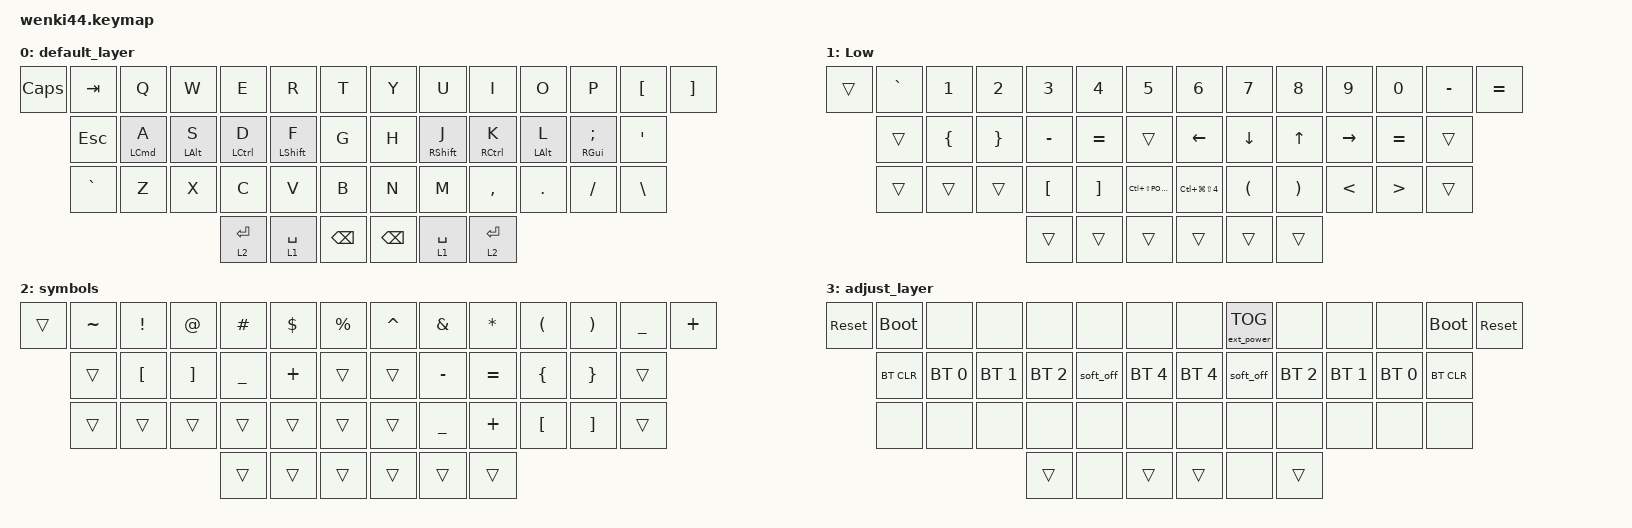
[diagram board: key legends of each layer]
/*
 * Copyright (c) 2020 The ZMK Contributors
 *
 * SPDX-License-Identifier: MIT
 */

#include <behaviors.dtsi>
#include <dt-bindings/zmk/bt.h>
#include <dt-bindings/zmk/ext_power.h>
#include <dt-bindings/zmk/keys.h>

#define DEF 0
#define LWR 1
#define RSE 2
#define ADJ 3

&mt {
    quick-tap-ms = <180>;
    flavor = "balanced";
};

&lt {
    quick_tap_ms = <200>;
    tapping-term-ms = <180>;
};

/ {
    combos {
        compatible = "zmk,combos";

        adj_l {
            bindings = <&lt 3 ESCAPE>;
            key-positions = <40 39>;
        };

        adj_r {
            bindings = <&lt 3 ESCAPE>;
            key-positions = <41 42>;
        };

        notQuitFix {
            bindings = <&none>;
            key-positions = <15 2>;
        };
    };

    keymap {
        compatible = "zmk,keymap";

        default_layer {
            // -----------------------------------------------------------------------------------------
            // |  GUI |   ~  |  Q  |  W  |  E  |  R  |  T  |   |  Y  |  U   |  I  |  O  |  P  |  [   | GUI/] |
            //        | CTRL |  A  |  S  |  D  |  F  |  G  |   |  H  |  J   |  K  |  L  |  ;  |CTRL/'|
            //        | LALT |  Z  |  X  |  C  |  V  |  B  |   |  N  |  M   |  ,  |  .  |  /  | RALT |
            //                           | RSE | SPC | LWR |   | LWR | BKSP | RSE |

            bindings = <
&kp CAPS  &kp TAB     &kp Q               &kp W           &kp E        &kp R        &kp T            &kp Y          &kp U        &kp I        &kp O           &kp P               &kp LBKT  &kp RIGHT_BRACKET
          &kp ESCAPE  &mt LEFT_COMMAND A  &mt LEFT_ALT S  &mt LCTRL D  &mt LSHFT F  &kp G            &kp H          &mt RSHFT J  &mt RCTRL K  &mt LEFT_ALT L  &mt RGUI SEMICOLON  &kp SQT
          &kp GRAVE   &kp Z               &kp X           &kp C        &kp V        &kp B            &kp N          &kp M        &kp COMMA    &kp DOT         &kp FSLH            &kp BSLH
                                                          &lt 2 ENTER  &lt 1 SPACE  &kp BACKSPACE    &kp BACKSPACE  &lt 1 SPACE  &lt 2 ENTER
            >;
        };

        Low {
            bindings = <
&trans  &kp GRAVE  &kp N1          &kp N2    &kp N3     &kp N4     &kp N5                 &kp N6                    &kp N7          &kp N8        &kp N9           &kp N0     &kp MINUS  &kp EQUAL
        &trans     &kp LEFT_BRACE  &kp RBRC  &kp MINUS  &kp EQUAL  &trans                 &kp LEFT                  &kp DOWN_ARROW  &kp UP_ARROW  &kp RIGHT_ARROW  &kp EQUAL  &trans
        &trans     &trans          &trans    &kp LBKT   &kp RBKT   &kp LC(LS(K_POWER))    &kp LC(LG(LS(NUMBER_4)))  &kp LPAR        &kp RPAR      &kp LT           &kp GT     &trans
                                             &trans     &trans     &trans                 &trans                    &trans          &trans
            >;
        };

        symbols {
            bindings = <
&trans  &kp TILDE  &kp EXCL  &kp AT    &kp HASH   &kp DOLLAR  &kp PERCENT    &kp CARET  &kp AMPS        &kp STAR   &kp LEFT_PARENTHESIS  &kp RIGHT_PARENTHESIS  &kp UNDER  &kp PLUS
        &trans     &kp LBKT  &kp RBKT  &kp UNDER  &kp PLUS    &trans         &trans     &kp MINUS       &kp EQUAL  &kp LEFT_BRACE        &kp RIGHT_BRACE        &trans
        &trans     &trans    &trans    &trans     &trans      &trans         &trans     &kp UNDERSCORE  &kp PLUS   &kp LEFT_BRACKET      &kp RIGHT_BRACKET      &trans
                                       &trans     &trans      &trans         &trans     &trans          &trans
            >;
        };

        adjust_layer {
            // -----------------------------------------------------------------------------------------
            // | RST | BLDR |     |     |     |     |     |   |     |     |     |     |     | BLDR | RST |
            //       | BTCLR| BT0 | BT1 | BT2 | BT3 | BT4 |   | BT4 | BT3 | BT2 | BT1 | BT0 | BTCLR|
            //       |      |     |     |     |     |     |   |     |     |     |     |     |      |
            //                          |     |     |     |   |     |     |     |

            bindings = <
&sys_reset  &bootloader  &none         &none         &none         &none      &none           &none         &ext_power EP_TOG  &none         &none         &none         &bootloader  &sys_reset
            &bt BT_CLR   &bt BT_SEL 0  &bt BT_SEL 1  &bt BT_SEL 2  &soft_off  &bt BT_SEL 4    &bt BT_SEL 4  &soft_off          &bt BT_SEL 2  &bt BT_SEL 1  &bt BT_SEL 0  &bt BT_CLR
            &none        &none         &none         &none         &none      &none           &none         &none              &none         &none         &none         &none
                                                     &trans        &none      &trans          &trans        &none              &trans
            >;
        };
    };

    conditional_layers {
        compatible = "zmk,conditional-layers";

        tri_layer {
            if-layers = <3 3>;
            then-layer = <3>;
        };
    };
};
